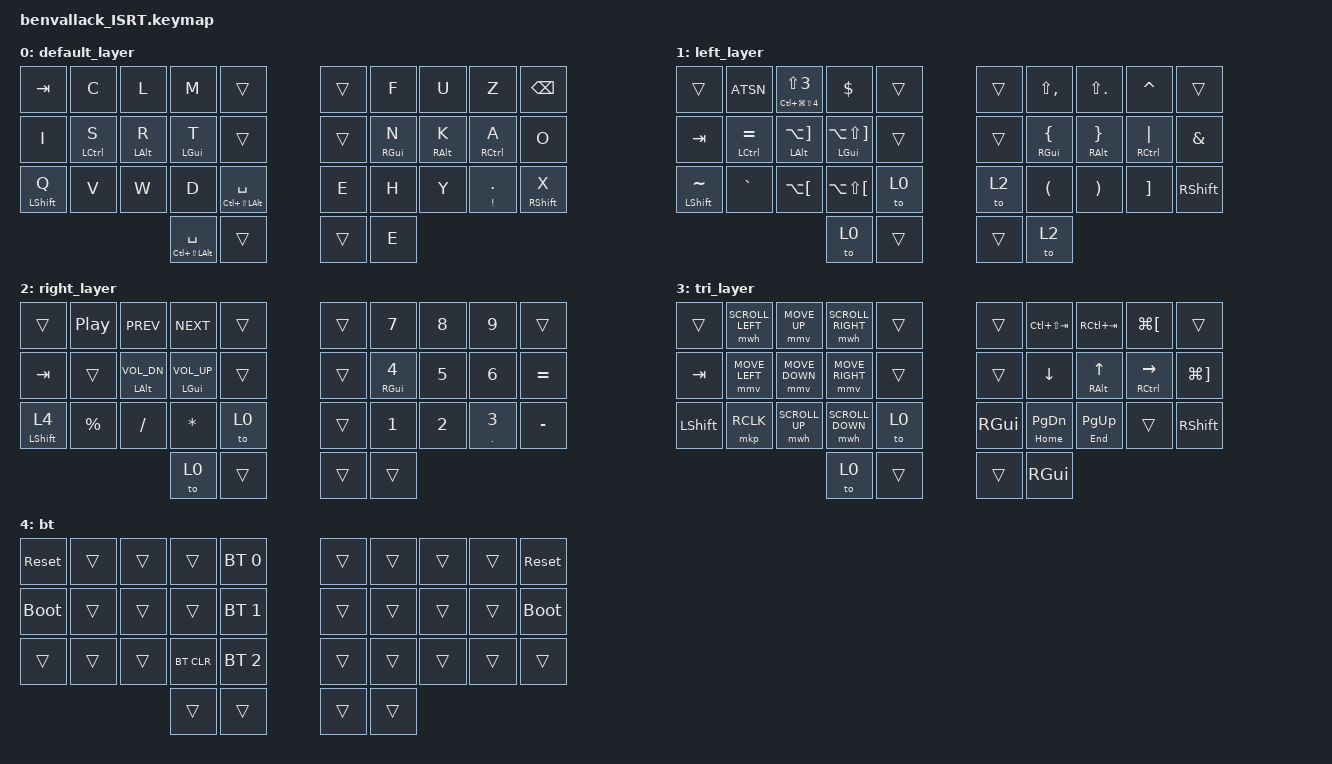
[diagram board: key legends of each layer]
/*
 * Copyright (c) 2020 The ZMK Contributors
 *
 * SPDX-License-Identifier: MIT
 */

#include <behaviors.dtsi>
#include <dt-bindings/zmk/keys.h>
#include <dt-bindings/zmk/bt.h>
#include <dt-bindings/zmk/mouse.h>


&mt {
    flavor = "tap-preferred";
    tapping_term_ms = <200>;
};


/ { 
    combos {
        compatible = "zmk,combos";
        combo_esc { 
            timeout-ms = <50>;
            key-positions = <21 22>;
            bindings = <&kp ESC>;
        };
        combo_3 {
            timeout-ms = <50>;
            key-positions = <7 8>;
            bindings = <&to 3>;
        };
        combo_ent {
            timeout-ms = <50>;
	    key-positions = <27 28>;
            bindings = <&kp RET>;
        };
        combo_1 {
            timeout-ms = <50>;
	    key-positions = <30 33>;
            bindings = <&to 1>;
        };
        combo_1_high {
            timeout-ms = <50>;
	    key-positions = <24 25>;
            bindings = <&to 1>;
        };
        combo_g {
            timeout-ms = <15>;
	    key-positions = <12 13>;
            bindings = <&kp G>;
            layers = <0>;
        };
        combo_j {
            timeout-ms = <50>;
	    key-positions = <22 23>;
            bindings = <&kp J>;
            layers = <0>;
        };
        combo_p {
            timeout-ms = <15>;
	    key-positions = <16 17>;
            bindings = <&kp P>;
            layers = <0>;
        };
        combo_b {
            timeout-ms = <50>;
	    key-positions = <26 27>;
            bindings = <&kp B>;
            layers = <0>;
        };
        combo_scol {
            timeout-ms = <50>;
	    key-positions = <8 9>;
            bindings = <&kp SEMI>;
            layers = <0>;
        };
        combo_com {
            timeout-ms = <50>;
	    key-positions = <20 21>;
            bindings = <&kp COMMA>;
            layers = <0>;
        };
        combo_minus {
            timeout-ms = <50>;
	    key-positions = <0 1>;
            bindings = <&kp MINUS>;
            layers = <0>;
        };
        combo_slsh {
            timeout-ms = <50>;
	    key-positions = <28 29>;
            bindings = <&kp SLASH>;
            layers = <0>;
        };
        combo_sqt {
            timeout-ms = <50>;
	    key-positions = <12 13>;
            bindings = <&kp SQT>;
            layers = <1>;
        };
        combo_dqt {
            timeout-ms = <50>;
	    key-positions = <22 23>;
            bindings = <&kp DQT>;
            layers = <1>;
        };
        combo_bslh {
            timeout-ms = <50>;
	    key-positions = <16 17>;
            bindings = <&kp BSLH>;
            layers = <1>;
        };
        combo_lbkt {
            timeout-ms = <50>;
	    key-positions = <26 27>;
            bindings = <&kp LBKT>;
            layers = <1>;
        };
        combo_n0 {
            timeout-ms = <50>;
	    key-positions = <26 27>;
            bindings = <&kp N0>;
            layers = <2>;
        };
        combo_lalt {
            timeout-ms = <50>;
	    key-positions = <12 13>;
            bindings = <&kp LALT>;
            layers = <3>;
        };
        combo_del {
            timeout-ms = <50>;
	    key-positions = <22 23>;
            bindings = <&kp DEL>;
            layers = <3>;
        };
        combo_left {
            timeout-ms = <50>;
	    key-positions = <16 17>;
            bindings = <&kp LEFT>;
            layers = <3>;
        };
        combo_lclk {
            timeout-ms = <50>;
	    key-positions = <26 27>;
            bindings = <&mkp LCLK>;
            layers = <3>;
        };
    };

    behaviors {
        hm: homerow_mods {
            compatible = "zmk,behavior-hold-tap";
            label = "HOMEROW_MODS";
            #binding-cells = <2>;
            tapping-term-ms = <200>;
            quick_tap_ms = <0>;
            flavor = "tap-preferred";
            bindings = <&kp>, <&kp>;
        };
        hs: homerow_shifts {
            compatible = "zmk,behavior-hold-tap";
            label = "HOMEROW_SHIFTS";
            #binding-cells = <2>;
            tapping-term-ms = <150>;
            quick_tap_ms = <0>;
            flavor = "balanced";
            bindings = <&kp>, <&kp>;
        };
        hsl: homerow_shifts_layer {
            compatible = "zmk,behavior-hold-tap";
            label = "HOMEROW_SHIFTS_LAYER";
            #binding-cells = <2>;
            tapping-term-ms = <150>;
            quick_tap_ms = <0>;
            flavor = "balanced";
            bindings = <&kp>, <&to>;
        };
	td: tapdance {
            compatible = "zmk,behavior-hold-tap";
            label = "TAPDANCE";
            #binding-cells = <2>;
            tapping-term-ms = <150>;
            quick_tap_ms = <0>;
            flavor = "tap-preferred";
            bindings = <&kp>, <&kp>;
        };
	bl: layertap {
            compatible = "zmk,behavior-hold-tap";
            label = "LAYERTAP";
            #binding-cells = <2>;
            tapping-term-ms = <150>;
            quick_tap_ms = <0>;
            flavor = "tap-preferred";
            bindings = <&to>, <&kp>;
        };
    };

        keymap {
                compatible = "zmk,keymap";
                
       		default_layer {
		bindings = <
		&kp TAB &kp C &kp L &kp M &trans 						&trans &kp F  &kp U    &kp Z  &kp BKSP
		&kp I &hm LCTL S &hm LALT R &hm LGUI T &trans 			       	&trans  &hm RGUI N &hm RALT K &hm RCTL A &kp O
		&hs LSHIFT Q &kp V &kp W &kp D &mt LC(LS(LALT)) SPC &kp E &kp H  &kp Y &td EXCL DOT &hs RSHIFT X
          				&mt LC(LS(LALT)) SPC &trans &trans &kp E
		>;
		};

       		left_layer {
		bindings = <
		&trans  &kp ATSN   &td LC(LG(LS(N4))) LS(N3) &kp DLLR    &trans		&trans &kp LS(COMMA) &kp LS(DOT) &kp CARET &trans
		&kp TAB    &hm LCTL EQUAL    &hm LALT LA(RBKT)      &hm LGUI LA(LS(RBKT))     &trans 		&trans &hm RGUI LBRC  &hm RALT RBRC &hm RCTL PIPE  &kp AMPS
  		&hs LSHIFT TILDE    &kp GRAVE 	&kp LA(LBKT) &kp LA(LS(LBKT))  &to 0 	&to 2 &kp LPRN &kp RPRN &kp RBKT  &kp RSHIFT
					    &to 0 &trans  					&trans &to 2 
		>;
		};

		right_layer {
		bindings = <
		&trans &kp C_PP &kp C_PREV  &kp C_NEXT  &trans    			&trans  &kp N7 &kp N8 &kp N9 &trans
		&kp TAB  &trans   &hm LALT C_VOL_DN  &hm LGUI C_VOL_UP  &trans  			&trans &hm RGUI N4  &kp N5  &kp N6   &kp EQUAL
		&hsl LSHIFT 4  &kp PRCNT &kp SLASH &kp STAR &to 0 &trans &kp N1 &kp N2 &td DOT N3  &kp MINUS
					  &to 0 &trans  				&trans &trans
		>;
		};

		tri_layer {
		bindings = <
		&trans  &mwh SCROLL_LEFT    &mmv MOVE_UP    &mwh SCROLL_RIGHT    &trans &trans    &kp LC(LS(TAB))   &kp RC(TAB) &kp LG(LBKT) &trans
		&kp TAB &mmv MOVE_LEFT &mmv MOVE_DOWN &mmv MOVE_RIGHT &trans  						&trans &kp DOWN  &hm RALT UP &hm RCTL RIGHT &kp LG(RBKT)
		&kp LSHIFT &mkp RCLK  &mwh SCROLL_UP &mwh SCROLL_DOWN &to 0   				&kp RGUI &td HOME PG_DN  &td END PG_UP  &trans &kp RSHIFT  
					 &to 0 &trans &trans &kp RGUI 
		>;
		};
		bt {
		    bindings = <
        //╭──────────┬──────────┬──────────┬──────────┬──────────╮   ╭──────────┬──────────┬──────────┬──────────┬──────────╮
        //│ RESET    │          │          │          │PROFILE 0 │   │          │          │          │          │  RESET   │
           &sys_reset  &trans     &trans     &trans    &bt BT_SEL 0    &trans     &trans     &trans     &trans    &sys_reset
        //├──────────┼──────────┼──────────┼──────────┼──────────┤   ├──────────┼──────────┼──────────┼──────────┼──────────┤
        //│BOOTLOADER│          │          │          │PROFILE 1 │   │          │          │          │          │BOOTLOADER│
          &bootloader  &trans     &trans     &trans    &bt BT_SEL 1    &trans     &trans     &trans     &trans    &bootloader
        //├──────────┼──────────┼──────────┼──────────┼──────────┤   ├──────────┼──────────┼──────────┼──────────┼──────────┤
        //│          │          │          │ CLEAR BT │PROFILE 2 │   │          │          │          │          │          │
            &trans     &trans     &trans    &bt BT_CLR &bt BT_SEL 2    &trans     &trans     &trans     &trans     &trans
        //╰──────────┴──────────┴──────────┼──────────┼──────────┤   ├──────────┼──────────┼──────────┴──────────┴──────────╯
                                             &trans     &trans         &trans     &trans
        //                                 ╰──────────┴──────────╯   ╰──────────┴──────────╯
            >;
		};
        
	};
};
